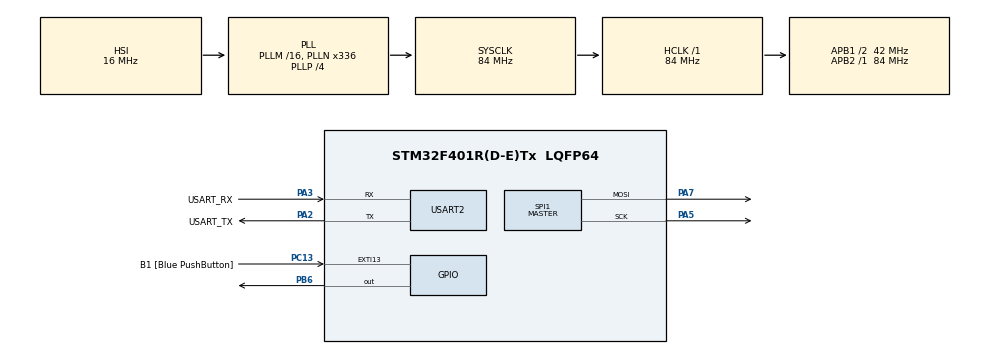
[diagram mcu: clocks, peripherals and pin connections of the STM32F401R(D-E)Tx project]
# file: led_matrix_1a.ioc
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Mcu.Family=STM32F4
Mcu.Name=STM32F401R(D-E)Tx
Mcu.Package=LQFP64
NVIC.PriorityGroup=NVIC_PRIORITYGROUP_0
NVIC.TIM2_IRQn=true\:0\:0\:false\:false\:true\:true\:true\:true
PA13.GPIO_Label=TMS
PA13.Mode=Serial_Wire
PA13.Signal=SYS_JTMS-SWDIO
PA14.GPIO_Label=TCK
PA14.Mode=Serial_Wire
PA14.Signal=SYS_JTCK-SWCLK
PA2.GPIO_Label=USART_TX
PA2.GPIO_Mode=GPIO_MODE_AF_PP
PA2.GPIO_PuPd=GPIO_NOPULL
PA2.GPIO_Speed=GPIO_SPEED_FREQ_LOW
PA2.Mode=Asynchronous
PA2.Signal=USART2_TX
PA3.GPIO_Label=USART_RX
PA3.GPIO_Mode=GPIO_MODE_AF_PP
PA3.GPIO_PuPd=GPIO_NOPULL
PA3.GPIO_Speed=GPIO_SPEED_FREQ_LOW
PA3.Mode=Asynchronous
PA3.Signal=USART2_RX
PA5.Mode=TX_Only_Simplex_Unidirect_Master
PA5.Signal=SPI1_SCK
PA7.Mode=TX_Only_Simplex_Unidirect_Master
PA7.Signal=SPI1_MOSI
PB3.GPIO_Label=SWO
PB3.Signal=SYS_JTDO-SWO
PB6.Signal=GPIO_Output
PC13-ANTI_TAMP.GPIO_Label=B1 [Blue PushButton]
PC13-ANTI_TAMP.GPIO_ModeDefaultEXTI=GPIO_MODE_IT_FALLING
PC13-ANTI_TAMP.GPIO_PuPd=GPIO_NOPULL
PC13-ANTI_TAMP.Signal=GPXTI13
PC14-OSC32_IN.Mode=LSE-External-Oscillator
PC14-OSC32_IN.Signal=RCC_OSC32_IN
PC15-OSC32_OUT.Mode=LSE-External-Oscillator
PC15-OSC32_OUT.Signal=RCC_OSC32_OUT
PH0\ -\ OSC_IN.Mode=HSE-External-Clock-Source
PH0\ -\ OSC_IN.Signal=RCC_OSC_IN
PH1\ -\ OSC_OUT.Mode=HSE-External-Clock-Source
PH1\ -\ OSC_OUT.Signal=RCC_OSC_OUT
ProjectManager.HeapSize=0x200
ProjectManager.StackSize=0x400
ProjectManager.TargetToolchain=STM32CubeIDE
RCC.48MHZClocksFreq_Value=48000000
RCC.AHBFreq_Value=84000000
RCC.APB1CLKDivider=RCC_HCLK_DIV2
RCC.APB1Freq_Value=42000000
RCC.APB1TimFreq_Value=84000000
RCC.APB2Freq_Value=84000000
RCC.APB2TimFreq_Value=84000000
RCC.CortexFreq_Value=84000000
RCC.HCLKFreq_Value=84000000
RCC.HSE_VALUE=8000000
RCC.HSI_VALUE=16000000
RCC.PLLN=336
RCC.PLLP=RCC_PLLP_DIV4
RCC.PLLQ=7
RCC.SYSCLKFreq_VALUE=84000000
RCC.SYSCLKSource=RCC_SYSCLKSOURCE_PLLCLK
RCC.VCOOutputFreq_Value=336000000
SPI1.BaudRatePrescaler=SPI_BAUDRATEPRESCALER_4
SPI1.Direction=SPI_DIRECTION_2LINES
SPI1.Mode=SPI_MODE_MASTER
SPI1.VirtualType=VM_MASTER
TIM2.Period=4000-1
TIM2.Prescaler=84-1
USART2.VirtualMode=VM_ASYNC
VP_TIM2_VS_ClockSourceINT.Mode=Internal
board=NUCLEO-F401RE

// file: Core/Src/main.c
/* USER CODE BEGIN Header */
/**
  ******************************************************************************
  * @file           : main.c
  * @brief          : Main program body
  ******************************************************************************
  * @attention
  *
  * Copyright (c) 2022 STMicroelectronics.
  * All rights reserved.
  *
  * This software is licensed under terms that can be found in the LICENSE file
  * in the root directory of this software component.
  * If no LICENSE file comes with this software, it is provided AS-IS.
  *
  ******************************************************************************
  */
/* USER CODE END Header */
#include "main.h"

SPI_HandleTypeDef hspi1;

TIM_HandleTypeDef htim2;

UART_HandleTypeDef huart2;

/* USER CODE BEGIN PV */
int column = 0;

uint8_t matrix[5][2] = {
		{2, 16},
		{1, 8},
		{1, 4},
		{1, 2},
		{126, 1}
};

/* USER CODE END PV */

void SystemClock_Config(void);
static void MX_GPIO_Init(void);
static void MX_USART2_UART_Init(void);
static void MX_SPI1_Init(void);
static void MX_TIM2_Init(void);

int main(void)
{

  /* MCU Configuration--------------------------------------------------------*/

  /* Reset of all peripherals, Initializes the Flash interface and the Systick. */
  HAL_Init();

  /* Configure the system clock */
  SystemClock_Config();

  /* Initialize all configured peripherals */
  MX_GPIO_Init();
  MX_USART2_UART_Init();
  MX_SPI1_Init();
  MX_TIM2_Init();
  /* USER CODE BEGIN 2 */
  HAL_TIM_Base_Start_IT(&htim2);
  /* USER CODE END 2 */

  /* Infinite loop */
  while (1)
  {

  }
}

void SystemClock_Config(void)
{
  RCC_OscInitTypeDef RCC_OscInitStruct = {0};
  RCC_ClkInitTypeDef RCC_ClkInitStruct = {0};

  /** Configure the main internal regulator output voltage
  */
  __HAL_RCC_PWR_CLK_ENABLE();
  __HAL_PWR_VOLTAGESCALING_CONFIG(PWR_REGULATOR_VOLTAGE_SCALE2);

  /** Initializes the RCC Oscillators according to the specified parameters
  * in the RCC_OscInitTypeDef structure.
  */
  RCC_OscInitStruct.OscillatorType = RCC_OSCILLATORTYPE_HSI;
  RCC_OscInitStruct.HSIState = RCC_HSI_ON;
  RCC_OscInitStruct.HSICalibrationValue = RCC_HSICALIBRATION_DEFAULT;
  RCC_OscInitStruct.PLL.PLLState = RCC_PLL_ON;
  RCC_OscInitStruct.PLL.PLLSource = RCC_PLLSOURCE_HSI;
  RCC_OscInitStruct.PLL.PLLM = 16;
  RCC_OscInitStruct.PLL.PLLN = 336;
  RCC_OscInitStruct.PLL.PLLP = RCC_PLLP_DIV4;
  RCC_OscInitStruct.PLL.PLLQ = 7;
  if (HAL_RCC_OscConfig(&RCC_OscInitStruct) != HAL_OK)
  {
    Error_Handler();
  }

  /** Initializes the CPU, AHB and APB buses clocks
  */
  RCC_ClkInitStruct.ClockType = RCC_CLOCKTYPE_HCLK|RCC_CLOCKTYPE_SYSCLK
                              |RCC_CLOCKTYPE_PCLK1|RCC_CLOCKTYPE_PCLK2;
  RCC_ClkInitStruct.SYSCLKSource = RCC_SYSCLKSOURCE_PLLCLK;
  RCC_ClkInitStruct.AHBCLKDivider = RCC_SYSCLK_DIV1;
  RCC_ClkInitStruct.APB1CLKDivider = RCC_HCLK_DIV2;
  RCC_ClkInitStruct.APB2CLKDivider = RCC_HCLK_DIV1;

  if (HAL_RCC_ClockConfig(&RCC_ClkInitStruct, FLASH_LATENCY_2) != HAL_OK)
  {
    Error_Handler();
  }
}

static void MX_SPI1_Init(void)
{

  /* SPI1 parameter configuration*/
  hspi1.Instance = SPI1;
  hspi1.Init.Mode = SPI_MODE_MASTER;
  hspi1.Init.Direction = SPI_DIRECTION_2LINES;
  hspi1.Init.DataSize = SPI_DATASIZE_8BIT;
  hspi1.Init.CLKPolarity = SPI_POLARITY_LOW;
  hspi1.Init.CLKPhase = SPI_PHASE_1EDGE;
  hspi1.Init.NSS = SPI_NSS_SOFT;
  hspi1.Init.BaudRatePrescaler = SPI_BAUDRATEPRESCALER_4;
  hspi1.Init.FirstBit = SPI_FIRSTBIT_MSB;
  hspi1.Init.TIMode = SPI_TIMODE_DISABLE;
  hspi1.Init.CRCCalculation = SPI_CRCCALCULATION_DISABLE;
  hspi1.Init.CRCPolynomial = 10;
  if (HAL_SPI_Init(&hspi1) != HAL_OK)
  {
    Error_Handler();
  }

}

static void MX_TIM2_Init(void)
{

  TIM_ClockConfigTypeDef sClockSourceConfig = {0};
  TIM_MasterConfigTypeDef sMasterConfig = {0};

  htim2.Instance = TIM2;
  htim2.Init.Prescaler = 84-1;
  htim2.Init.CounterMode = TIM_COUNTERMODE_UP;
  htim2.Init.Period = 4000-1;
  htim2.Init.ClockDivision = TIM_CLOCKDIVISION_DIV1;
  htim2.Init.AutoReloadPreload = TIM_AUTORELOAD_PRELOAD_DISABLE;
  if (HAL_TIM_Base_Init(&htim2) != HAL_OK)
  {
    Error_Handler();
  }
  sClockSourceConfig.ClockSource = TIM_CLOCKSOURCE_INTERNAL;
  if (HAL_TIM_ConfigClockSource(&htim2, &sClockSourceConfig) != HAL_OK)
  {
    Error_Handler();
  }
  sMasterConfig.MasterOutputTrigger = TIM_TRGO_RESET;
  sMasterConfig.MasterSlaveMode = TIM_MASTERSLAVEMODE_DISABLE;
  if (HAL_TIMEx_MasterConfigSynchronization(&htim2, &sMasterConfig) != HAL_OK)
  {
    Error_Handler();
  }

}

static void MX_USART2_UART_Init(void)
{

  huart2.Instance = USART2;
  huart2.Init.BaudRate = 115200;
  huart2.Init.WordLength = UART_WORDLENGTH_8B;
  huart2.Init.StopBits = UART_STOPBITS_1;
  huart2.Init.Parity = UART_PARITY_NONE;
  huart2.Init.Mode = UART_MODE_TX_RX;
  huart2.Init.HwFlowCtl = UART_HWCONTROL_NONE;
  huart2.Init.OverSampling = UART_OVERSAMPLING_16;
  if (HAL_UART_Init(&huart2) != HAL_OK)
  {
    Error_Handler();
  }

}

static void MX_GPIO_Init(void)
{
  GPIO_InitTypeDef GPIO_InitStruct = {0};

  /* GPIO Ports Clock Enable */
  __HAL_RCC_GPIOC_CLK_ENABLE();
  __HAL_RCC_GPIOH_CLK_ENABLE();
  __HAL_RCC_GPIOA_CLK_ENABLE();
  __HAL_RCC_GPIOB_CLK_ENABLE();

  /*Configure GPIO pin Output Level */
  HAL_GPIO_WritePin(GPIOB, GPIO_PIN_6, GPIO_PIN_RESET);

  /*Configure GPIO pin : B1_Pin */
  GPIO_InitStruct.Pin = B1_Pin;
  GPIO_InitStruct.Mode = GPIO_MODE_IT_FALLING;
  GPIO_InitStruct.Pull = GPIO_NOPULL;
  HAL_GPIO_Init(B1_GPIO_Port, &GPIO_InitStruct);

  /*Configure GPIO pin : PB6 */
  GPIO_InitStruct.Pin = GPIO_PIN_6;
  GPIO_InitStruct.Mode = GPIO_MODE_OUTPUT_PP;
  GPIO_InitStruct.Pull = GPIO_NOPULL;
  GPIO_InitStruct.Speed = GPIO_SPEED_FREQ_LOW;
  HAL_GPIO_Init(GPIOB, &GPIO_InitStruct);

}

/* USER CODE BEGIN 4 */
void HAL_TIM_PeriodElapsedCallback(TIM_HandleTypeDef *htim){
	HAL_SPI_Transmit(&hspi1, matrix[column], 2, 10);
	HAL_GPIO_WritePin(GPIOB, GPIO_PIN_6, GPIO_PIN_SET);
	if(++column > 4){
		column = 0;
	}
	HAL_GPIO_WritePin(GPIOB, GPIO_PIN_6, GPIO_PIN_RESET);
};
/* USER CODE END 4 */

void Error_Handler(void)
{
  __disable_irq();
  while (1)
  {
  }
}
